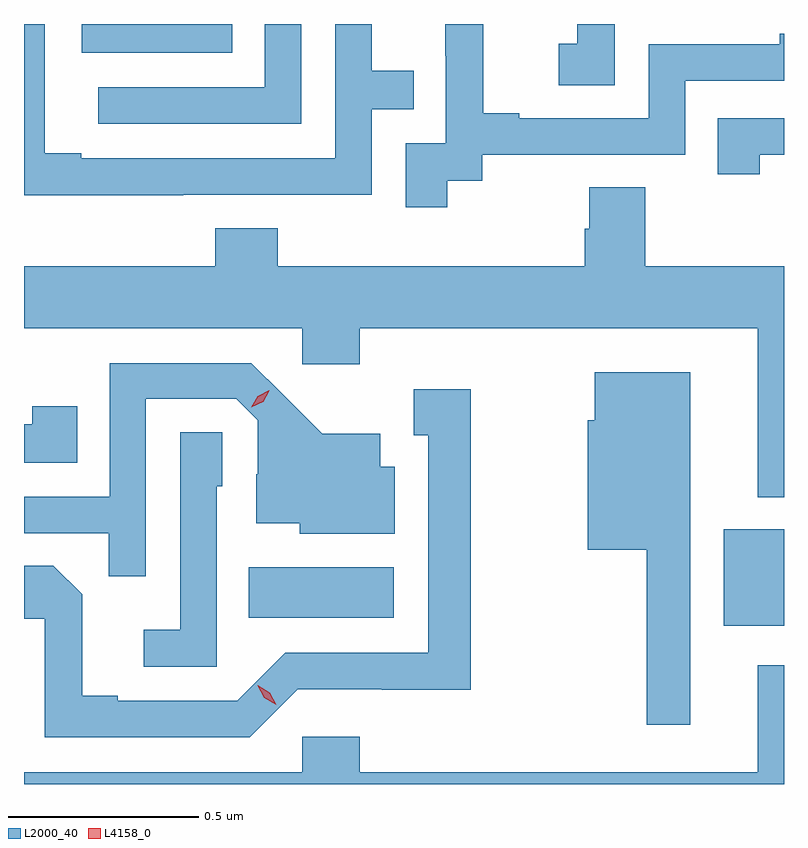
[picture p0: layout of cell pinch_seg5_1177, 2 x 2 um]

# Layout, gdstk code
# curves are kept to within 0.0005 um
import gdstk
lib = gdstk.Library(unit=1e-6, precision=1e-09)
def R(c, l, rs):  # rectangles x0, y0, x1, y1
    for r in rs: c.add(gdstk.rectangle(r[:2], r[2:], *l))
def P(c, l, *ps):  # polygons
    for p in ps: c.add(gdstk.Polygon(p, *l))
L2000_40 = (2000, 40)
L4158_0 = (4158, 0)

pinch_seg5_1177 = lib.new_cell('pinch_seg5_1177')
R(pinch_seg5_1177, L2000_40, [(775.535,846.653,775.694,846.907), (774.286,846.674,774.667,846.808), (773.846,848.162,774.242,848.237)])
P(pinch_seg5_1177, L2000_40, [(774.423,848.237),(774.327,848.237),(774.327,848.07),(773.889,848.07),(773.889,847.974),(774.423,847.974)],
  [(774.113,847.788),(774.609,847.788),(774.609,848.013),(774.719,848.013),(774.719,848.114),(774.609,848.114),(774.609,848.237),(774.513,848.237),(774.513,847.884),(773.845,847.884),(773.845,847.897),(773.748,847.897),(773.748,848.237),(773.694,848.237),(773.694,847.787),(774.113,847.787)],
  [(774.808,847.825),(774.9,847.825),(774.9,847.893),(775.434,847.893),(775.434,848.088),(775.694,848.088),(775.694,848.211),(775.683,848.211),(775.683,848.184),(775.338,848.184),(775.338,847.989),(774.997,847.989),(774.997,848.002),(774.902,848.002),(774.902,848.237),(774.803,848.237),(774.803,848.153),(774.804,848.153),(774.804,847.923),(774.699,847.923),(774.699,847.755),(774.808,847.755)],
  [(775.248,848.237),(775.15,848.237),(775.15,848.185),(775.101,848.185),(775.101,848.076),(775.248,848.076)],
  [(775.63,847.893),(775.694,847.893),(775.694,847.989),(775.519,847.989),(775.519,847.842),(775.63,847.842)],
  [(775.694,847.6),(775.329,847.6),(775.329,847.808),(775.181,847.808),(775.181,847.698),(775.169,847.698),(775.169,847.6),(774.362,847.6),(774.362,847.699),(774.197,847.699),(774.197,847.6),(773.694,847.6),(773.694,847.436),(774.426,847.436),(774.426,847.341),(774.578,847.341),(774.578,847.436),(775.625,847.436),(775.625,846.992),(775.694,846.992)],
  [(774.015,847.251),(774.252,847.251),(774.309,847.194),(774.309,847.052),(774.305,847.052),(774.305,846.923),(774.42,846.923),(774.42,846.896),(774.67,846.896),(774.67,847.072),(774.631,847.072),(774.631,847.159),(774.479,847.159),(774.292,847.344),(773.919,847.344),(773.919,846.993),(773.694,846.993),(773.694,846.897),(773.917,846.897),(773.917,846.784),(774.015,846.784)],
  [(775.447,847.321),(775.196,847.321),(775.196,847.194),(775.178,847.194),(775.178,846.854),(775.333,846.854),(775.333,846.393),(775.447,846.393)],
  [(774.414,846.486),(774.636,846.486),(774.636,846.485),(774.869,846.485),(774.869,847.276),(774.719,847.276),(774.719,847.155),(774.758,847.155),(774.758,846.582),(774.381,846.582),(774.255,846.456),(773.941,846.456),(773.941,846.469),(773.847,846.469),(773.847,846.736),(773.771,846.812),(773.694,846.812),(773.694,846.672),(773.748,846.672),(773.748,846.36),(774.288,846.36)],
  [(773.834,847.231),(773.716,847.231),(773.716,847.184),(773.694,847.184),(773.694,847.083),(773.834,847.083)],
  [(774.201,847.02),(774.216,847.02),(774.216,847.163),(774.105,847.163),(774.105,846.643),(774.009,846.643),(774.009,846.546),(774.201,846.546)],
  [(775.694,846.55),(775.625,846.55),(775.625,846.268),(774.578,846.268),(774.578,846.361),(774.426,846.361),(774.426,846.268),(773.694,846.268),(773.694,846.237),(775.694,846.237)])
P(pinch_seg5_1177, L4158_0, [(774.358,846.445),(774.326,846.464),(774.309,846.496),(774.309,846.497),(774.309,846.497),(774.341,846.477),(774.358,846.445),(774.358,846.445)],
  [(774.292,847.228),(774.292,847.228),(774.309,847.258),(774.34,847.273),(774.34,847.273),(774.34,847.272),(774.323,847.243),(774.292,847.228)])

lib.write_gds('pinch_seg5_1177.gds')
